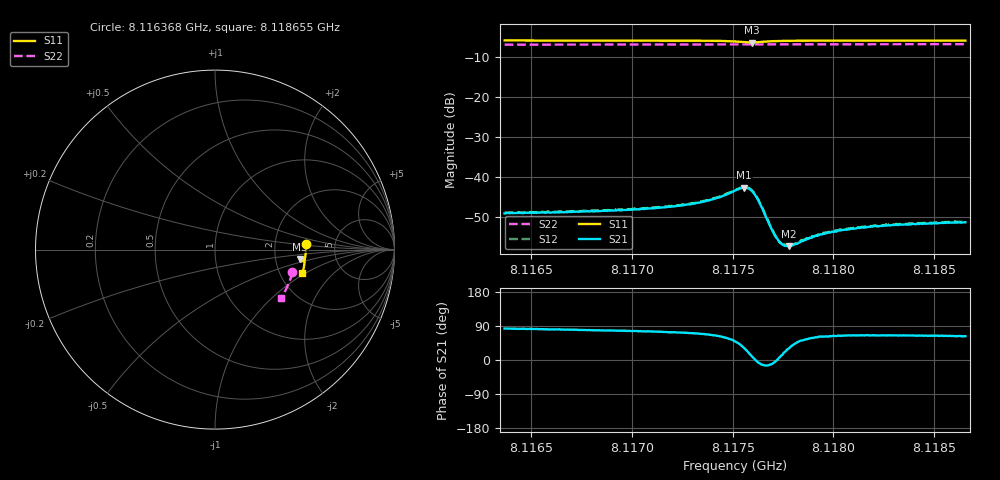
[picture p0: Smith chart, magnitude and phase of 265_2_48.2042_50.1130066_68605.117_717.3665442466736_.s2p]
#  HZ  S  RI  R  50.00
! Rohde & Schwarz Vector Network Analyzer
! Rohde-Schwarz,ZNB20-2Port,1311601062101988,3.16
! Created: UTC 3/20/2024, 11:47:56 AM
! freq[Hz]  re:S11  im:S11  re:S21  im:S21  re:S12  im:S12  re:S22  im:S22
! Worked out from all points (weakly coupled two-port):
!   401 points, 8.116368 GHz to 8.118655 GHz, reference 50 ohm
!   highest |S21| = -42.59 dB at 8.117557 GHz (marker M1); lowest = -57.2 dB at 8.11778 GHz (marker M2)
!   lowest |S11| = -6.4 dB at 8.117598 GHz (marker M3), VSWR 2.83, Z = 139 - j18.9 ohm
!   |S11| at or under -10 dB: nowhere
!   |S22| runs from -6.9 to -6.8 dB; largest |S21 - S12| = 0.0002
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8.1163681e9  0.506 0.0309  0.000437 0.00352  0.000503 0.0036  0.4312 -0.1267
8.1167512e9  0.5063 0.00179  0.000685 0.00367  0.000749 0.00371  0.4238 -0.1523
8.1171343e9  0.5045 -0.0285  0.0011 0.00401  0.00116 0.00409  0.4151 -0.1774
8.1172316e9  0.5036 -0.0367  0.00132 0.00421  0.00136 0.00427  0.4125 -0.1838
8.1173631e9  0.5007 -0.0488  0.00188 0.00465  0.00197 0.00472  0.4091 -0.1924
8.1174374e9  0.4972 -0.0565  0.00262 0.00504  0.00268 0.00512  0.407 -0.1974
8.1175117e9  0.4886 -0.0639  0.00443 0.00518  0.00459 0.00521  0.4044 -0.202
8.1175575e9  0.4787 -0.0626  0.00631 0.00389  0.0065 0.00389  0.4027 -0.2045
8.1175804e9  0.475 -0.0577  0.00686 0.00233  0.00701 0.00226  0.4019 -0.2056
8.1175975e9  0.4749 -0.0526  0.00661 0.000974  0.00675 0.000901  0.4016 -0.2065
8.1176147e9  0.4777 -0.0483  0.00586 -0.000109  0.00598 -0.00017  0.4014 -0.2074
8.1176318e9  0.4817 -0.0461  0.00483 -0.000706  0.00494 -0.000747  0.4008 -0.2085
8.1177004e9  0.4942 -0.0509  0.00206 -0.000307  0.00213 -0.000316  0.3996 -0.2127
8.1177233e9  0.496 -0.054  0.00169 4.65e-05  0.00165 1.83e-05  0.3988 -0.2144
8.1177347e9  0.4967 -0.0556  0.00152 0.000195  0.00153 0.000185  0.3985 -0.215
8.1177462e9  0.4973 -0.057  0.00141 0.000333  0.00142 0.000339  0.398 -0.2159
8.1177805e9  0.4982 -0.0611  0.00119 0.000715  0.00121 0.000748  0.3972 -0.2181
8.1178948e9  0.4987 -0.0729  0.000936 0.00151  0.001 0.00154  0.3936 -0.2254
8.1179635e9  0.4983 -0.0791  0.000922 0.00179  0.000997 0.0018  0.3914 -0.2297
8.1180435e9  0.4975 -0.0858  0.000963 0.00197  0.00102 0.00202  0.3888 -0.2348
8.118278e9  0.4941 -0.1043  0.00107 0.00229  0.00113 0.00233  0.3806 -0.2489
8.1186553e9  0.4871 -0.1323  0.00125 0.00245  0.00129 0.00248  0.3663 -0.2713
